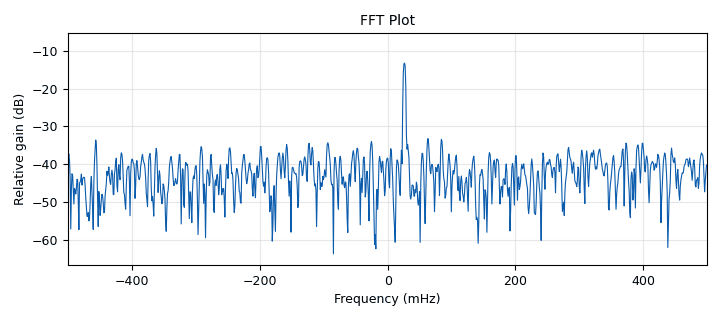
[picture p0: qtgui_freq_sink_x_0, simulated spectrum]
<?xml version='1.0' encoding='utf-8'?>
<flow_graph>
<block>
<key>options</key>
<param><key>id</key><value>demo_spec_an</value></param>
<param><key>author</key><value>mettus</value></param>
<param><key>generate_options</key><value>qt_gui</value></param>
<param><key>category</key><value>Custom</value></param>
</block>
<block>
<key>variable</key>
<param><key>id</key><value>samp_rate</value></param>
<param><key>value</key><value>100000</value></param>
</block>
<block>
<key>variable</key>
<param><key>id</key><value>fft_size</value></param>
<param><key>value</key><value>1000</value></param>
</block>
<block>
<key>blocks_rms_xx</key>
<param><key>id</key><value>blocks_rms_xx_0</value></param>
<param><key>type</key><value>complex</value></param>
<param><key>alpha</key><value>.0001</value></param>
</block>
<block>
<key>import</key>
<param><key>id</key><value>imp0</value></param>
<param><key>import</key><value>import math</value></param>
</block>
<block>
<key>blocks_rms_xx</key>
<param><key>id</key><value>blocks_rms_xx_0_0</value></param>
<param><key>type</key><value>complex</value></param>
<param><key>alpha</key><value>.0001</value></param>
</block>
<block>
<key>blocks_add_xx</key>
<param><key>id</key><value>blocks_add_xx_0</value></param>
<param><key>type</key><value>complex</value></param>
</block>
<block>
<key>analog_noise_source_x</key>
<param><key>id</key><value>analog_noise_source_x_0</value></param>
<param><key>type</key><value>complex</value></param>
<param><key>noise_type</key><value>analog.GR_GAUSSIAN</value></param>
<param><key>amp</key><value>math.pow(10.0,snr/20.0)/math.sqrt(2.0)</value></param>
<param><key>seed</key><value>42</value></param>
</block>
<block>
<key>blocks_throttle</key>
<param><key>id</key><value>blocks_throttle_0</value></param>
<param><key>type</key><value>complex</value></param>
<param><key>samples_per_second</key><value>samp_rate</value></param>
</block>
<block>
<key>qtgui_time_sink_x</key>
<param><key>id</key><value>qtgui_time_sink_x_0</value></param>
<param><key>_enabled</key><value>False</value></param>
<param><key>type</key><value>complex</value></param>
<param><key>name</key><value>Scope Plot</value></param>
<param><key>size</key><value>1024</value></param>
<param><key>srate</key><value>samp_rate</value></param>
<param><key>label1</key><value></value></param>
<param><key>color1</key><value>"blue"</value></param>
<param><key>label2</key><value></value></param>
<param><key>color2</key><value>"red"</value></param>
</block>
<block>
<key>blocks_divide_xx</key>
<param><key>id</key><value>blocks_divide_xx_0</value></param>
<param><key>type</key><value>float</value></param>
</block>
<block>
<key>blocks_nlog10_ff</key>
<param><key>id</key><value>blocks_nlog10_ff_0</value></param>
<param><key>n</key><value>20</value></param>
<param><key>k</key><value>0</value></param>
</block>
<block>
<key>variable_qtgui_range</key>
<param><key>id</key><value>snr</value></param>
<param><key>label</key><value>Noise Level</value></param>
<param><key>value</key><value>0</value></param>
<param><key>start</key><value>-100</value></param>
<param><key>stop</key><value>100</value></param>
<param><key>step</key><value>1</value></param>
<param><key>orient</key><value>Qt.Horizontal</value></param>
</block>
<block>
<key>variable_qtgui_range</key>
<param><key>id</key><value>freq_offset</value></param>
<param><key>label</key><value>Frequency Offset</value></param>
<param><key>value</key><value>0</value></param>
<param><key>start</key><value>-5*samp_rate/fft_size</value></param>
<param><key>stop</key><value>5*samp_rate/fft_size</value></param>
<param><key>step</key><value>1</value></param>
<param><key>orient</key><value>Qt.Horizontal</value></param>
</block>
<block>
<key>analog_sig_source_x</key>
<param><key>id</key><value>analog_sig_source_x_0</value></param>
<param><key>type</key><value>complex</value></param>
<param><key>samp_rate</key><value>samp_rate</value></param>
<param><key>waveform</key><value>analog.GR_COS_WAVE</value></param>
<param><key>freq</key><value>float(samp_rate)/float(fft_size)*26+freq_offset</value></param>
<param><key>amp</key><value>1.0</value></param>
<param><key>offset</key><value>0</value></param>
</block>
<block>
<key>qtgui_number_sink</key>
<param><key>id</key><value>qtgui_number_sink_snr</value></param>
<param><key>type</key><value>float</value></param>
<param><key>autoscale</key><value>True</value></param>
<param><key>graph_type</key><value>qtgui.NUM_GRAPH_HORIZ</value></param>
<param><key>label1</key><value>SNR</value></param>
</block>
<block>
<key>qtgui_freq_sink_x</key>
<param><key>id</key><value>qtgui_freq_sink_x_0</value></param>
<param><key>type</key><value>complex</value></param>
<param><key>name</key><value>FFT Plot</value></param>
<param><key>fftsize</key><value>1024</value></param>
<param><key>wintype</key><value>firdes.WIN_FLATTOP</value></param>
<param><key>fc</key><value>0</value></param>
<param><key>bw</key><value>1.0</value></param>
<param><key>autoscale</key><value>True</value></param>
</block>
<block>
<key>qtgui_number_sink</key>
<param><key>id</key><value>qtgui_number_sink_signal_amplitude</value></param>
<param><key>type</key><value>float</value></param>
<param><key>graph_type</key><value>qtgui.NUM_GRAPH_HORIZ</value></param>
<param><key>min</key><value>0</value></param>
<param><key>max</key><value>2</value></param>
<param><key>label1</key><value>Signal Amplitude</value></param>
</block>
<block>
<key>qtgui_number_sink</key>
<param><key>id</key><value>qtgui_number_sink_0</value></param>
<param><key>type</key><value>float</value></param>
<param><key>graph_type</key><value>qtgui.NUM_GRAPH_HORIZ</value></param>
<param><key>min</key><value>0</value></param>
<param><key>max</key><value>100</value></param>
<param><key>label1</key><value>Noise Amplitude</value></param>
</block>
<connection><source_block_id>blocks_divide_xx_0</source_block_id><sink_block_id>blocks_nlog10_ff_0</sink_block_id><source_key>0</source_key><sink_key>0</sink_key></connection>
<connection><source_block_id>blocks_rms_xx_0</source_block_id><sink_block_id>blocks_divide_xx_0</sink_block_id><source_key>0</source_key><sink_key>1</sink_key></connection>
<connection><source_block_id>blocks_rms_xx_0_0</source_block_id><sink_block_id>blocks_divide_xx_0</sink_block_id><source_key>0</source_key><sink_key>0</sink_key></connection>
<connection><source_block_id>blocks_rms_xx_0</source_block_id><sink_block_id>qtgui_number_sink_0</sink_block_id><source_key>0</source_key><sink_key>0</sink_key></connection>
<connection><source_block_id>blocks_rms_xx_0_0</source_block_id><sink_block_id>qtgui_number_sink_signal_amplitude</sink_block_id><source_key>0</source_key><sink_key>0</sink_key></connection>
<connection><source_block_id>blocks_throttle_0</source_block_id><sink_block_id>qtgui_freq_sink_x_0</sink_block_id><source_key>0</source_key><sink_key>0</sink_key></connection>
<connection><source_block_id>analog_sig_source_x_0</source_block_id><sink_block_id>blocks_rms_xx_0_0</sink_block_id><source_key>0</source_key><sink_key>0</sink_key></connection>
<connection><source_block_id>analog_noise_source_x_0</source_block_id><sink_block_id>blocks_rms_xx_0</sink_block_id><source_key>0</source_key><sink_key>0</sink_key></connection>
<connection><source_block_id>blocks_add_xx_0</source_block_id><sink_block_id>blocks_throttle_0</sink_block_id><source_key>0</source_key><sink_key>0</sink_key></connection>
<connection><source_block_id>analog_noise_source_x_0</source_block_id><sink_block_id>blocks_add_xx_0</sink_block_id><source_key>0</source_key><sink_key>0</sink_key></connection>
<connection><source_block_id>analog_sig_source_x_0</source_block_id><sink_block_id>blocks_add_xx_0</sink_block_id><source_key>0</source_key><sink_key>1</sink_key></connection>
<connection><source_block_id>blocks_throttle_0</source_block_id><sink_block_id>qtgui_time_sink_x_0</sink_block_id><source_key>0</source_key><sink_key>0</sink_key></connection>
<connection><source_block_id>blocks_nlog10_ff_0</source_block_id><sink_block_id>qtgui_number_sink_snr</sink_block_id><source_key>0</source_key><sink_key>0</sink_key></connection>
</flow_graph>
